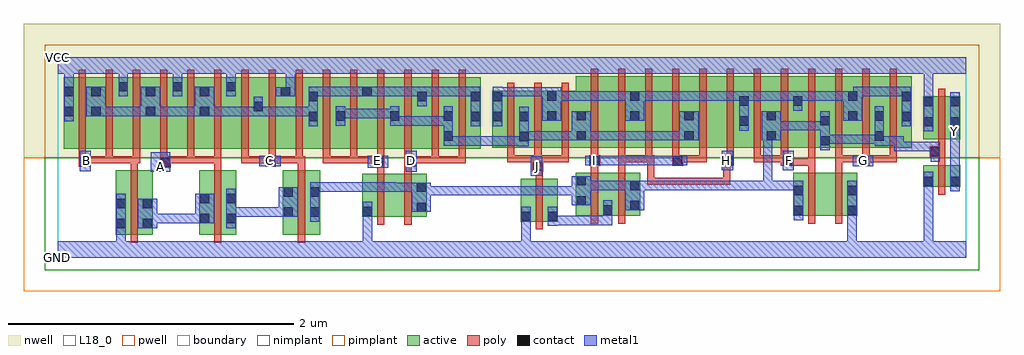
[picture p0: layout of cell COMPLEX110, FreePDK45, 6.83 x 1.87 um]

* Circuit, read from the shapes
.subckt COMPLEX110 A B C D E F G GND H I J VCC Y
M1 n1 B GND VSUBS nfet w=0.45u l=0.05u
M2 n2 A n1 VSUBS nfet w=0.45u l=0.05u
M3 n3 C n2 VSUBS nfet w=0.45u l=0.05u
M4 n4 E GND VSUBS nfet w=0.3u l=0.05u
M5 n3 D n4 VSUBS nfet w=0.3u l=0.05u
M6 n5 J GND VSUBS nfet w=0.3u l=0.05u
M7 n5 I n3 VSUBS nfet w=0.3u l=0.05u
M8 n3 H n5 VSUBS nfet w=0.3u l=0.05u
M9 n6 F n3 VSUBS nfet w=0.3u l=0.05u
M10 GND G n6 VSUBS nfet w=0.3u l=0.05u
M11 Y n3 GND VSUBS nfet w=0.15u l=0.05u
M12 n7 B VCC n8 pfet w=0.5u l=0.05u m=3
M13 VCC A n7 n8 pfet w=0.5u l=0.05u m=3
M14 n7 C VCC n8 pfet w=0.5u l=0.05u m=3
M15 n9 E n7 n8 pfet w=0.5u l=0.05u m=3
M16 n7 D n9 n8 pfet w=0.5u l=0.05u m=3
M17 n9 J n10 n8 pfet w=0.4u l=0.05u m=3
M18 n11 I n9 n8 pfet w=0.5u l=0.05u
M19 n10 H n11 n8 pfet w=0.5u l=0.05u
M20 n12 H n10 n8 pfet w=0.5u l=0.05u
M21 n9 I n12 n8 pfet w=0.5u l=0.05u
M22 n13 I n9 n8 pfet w=0.5u l=0.05u
M23 n10 H n13 n8 pfet w=0.5u l=0.05u
M24 n3 F n10 n8 pfet w=0.5u l=0.05u m=3
M25 n10 G n3 n8 pfet w=0.5u l=0.05u m=3
M26 Y n3 VCC n8 pfet w=0.3u l=0.05u
.ends

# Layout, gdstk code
import gdstk
lib = gdstk.Library(unit=1e-6, precision=1e-09)
def R(c, l, rs):  # rectangles x0, y0, x1, y1
    for r in rs: c.add(gdstk.rectangle(r[:2], r[2:], *l))
def A(c, l, x, y, w, h, nx, ny, dx, dy):  # array of equal rectangles
    R(c, l, [(x+i*dx, y+j*dy, x+i*dx+w, y+j*dy+h) for i in range(nx) for j in range(ny)])
active = (1, 0)
pwell = (2, 0)
nwell = (3, 0)
nimplant = (4, 0)
pimplant = (5, 0)
poly = (9, 0)
contact = (10, 0)
metal1 = (11, 0)
L18_0 = (18, 0)
boundary = (235, 0)

complex110 = lib.new_cell('COMPLEX110')
A(complex110, active, 0.407, 0.16, 0.26, 0.45, 3, 1, 0.585, 0)
A(complex110, active, 0.042, 0.76, 0.265, 0.5, 4, 1, 0.19, 0)
A(complex110, active, 0.042, 0.76, 0.075, 0.5, 3, 1, 0.38, 0)
R(complex110, active, [(0.407,0.195,0.482,0.61), (0.592,0.195,0.667,0.61), (0.992,0.195,1.067,0.61), (1.177,0.195,1.252,0.61), (1.577,0.195,1.652,0.61), (1.762,0.195,1.837,0.61), (3.24,0.252,3.315,0.552), (3.24,0.252,3.5,0.552), (3.425,0.252,3.5,0.552), (2.132,0.285,2.207,0.585), (2.132,0.285,2.357,0.585), (2.357,0.285,2.582,0.585), (3.627,0.292,3.887,0.592), (3.812,0.292,4.077,0.592), (3.812,0.292,3.887,0.497), (4.002,0.292,4.077,0.592), (5.147,0.292,5.222,0.592), (5.147,0.292,5.372,0.592), (5.372,0.292,5.597,0.592), (5.522,0.292,5.597,0.592), (2.507,0.315,2.582,0.585), (3.627,0.33,3.702,0.592), (6.057,0.495,6.132,0.645), (6.057,0.495,6.317,0.645), (6.242,0.495,6.317,0.645), (0.232,0.76,0.307,1.2), (0.612,0.76,0.687,1.2), (0.802,0.76,1.065,1.26), (0.99,0.76,1.065,1.2), (0.99,0.76,1.252,1.26), (1.177,0.76,1.442,1.26), (1.177,0.76,1.252,1.26), (1.367,0.76,1.632,1.26), (1.367,0.76,1.442,1.2), (1.557,0.76,1.827,1.26), (1.557,0.76,1.632,1.26), (1.752,0.76,2.017,1.26), (1.752,0.76,1.827,1.2), (1.942,0.76,2.202,1.26), (1.942,0.76,2.017,1.07), (2.127,0.76,2.397,1.26), (2.127,0.76,2.202,1.2), (2.322,0.76,2.587,1.26), (2.322,0.76,2.397,1.07), (2.512,0.76,2.772,1.26), (2.512,0.76,2.587,1.2), (2.697,0.76,2.962,1.26), (2.697,0.76,2.772,1.07), (2.887,0.76,2.962,1.2), (3.042,0.767,3.302,1.167), (3.042,0.767,3.117,1.165), (3.227,0.767,3.302,1.07), (3.227,0.767,3.495,1.167), (3.42,0.767,3.702,1.167), (3.42,0.767,3.495,1.167), (3.627,0.767,3.702,1.07), (3.627,0.767,3.852,1.267), (3.852,0.767,4.077,1.267), (4.002,0.767,4.077,1.2), (4.002,0.767,4.232,1.267), (4.232,0.767,4.457,1.267), (4.382,0.767,4.457,1.07), (4.382,0.767,4.612,1.267), (4.612,0.767,4.842,1.267), (4.767,0.767,4.842,1.2), (4.767,0.767,5.032,1.267), (4.957,0.767,5.032,1.07), (4.957,0.767,5.217,1.267), (5.142,0.767,5.217,1.2), (5.142,0.767,5.407,1.267), (5.332,0.767,5.407,1.07), (5.332,0.767,5.602,1.267), (5.527,0.767,5.602,1.2), (5.527,0.767,5.787,1.267), (5.712,0.767,5.977,1.267), (5.712,0.767,5.787,1.07), (5.902,0.767,5.977,1.2), (6.057,0.827,6.132,1.127), (6.057,0.827,6.317,1.127), (6.242,0.827,6.317,1.127)])
R(complex110, pwell, [(-0.235,-0.235,6.595,0.7)])
R(complex110, nwell, [(-0.235,0.7,6.595,1.635)])
R(complex110, nimplant, [(-0.09,-0.09,6.45,0.7)])
R(complex110, pimplant, [(-0.09,0.7,6.45,1.49)])
A(complex110, poly, 0.512, 0.105, 0.05, 0.56, 3, 1, 0.585, 0)
A(complex110, poly, 0.512, 0.615, 0.05, 0.095, 3, 1, 0.585, 0)
A(complex110, poly, 0.147, 0.66, 0.05, 0.095, 15, 1, 0.19, 0)
A(complex110, poly, 3.147, 0.667, 0.05, 0.095, 3, 1, 0.19, 0)
A(complex110, poly, 3.732, 0.667, 0.05, 0.095, 8, 1, 0.19, 0)
A(complex110, poly, 5.442, 0.667, 0.05, 0.095, 3, 1, 0.19, 0)
A(complex110, poly, 0.147, 0.705, 0.05, 0.61, 15, 1, 0.19, 0)
A(complex110, poly, 3.147, 0.712, 0.05, 0.51, 3, 1, 0.19, 0)
A(complex110, poly, 3.732, 0.712, 0.05, 0.61, 12, 1, 0.19, 0)
R(complex110, poly, [(3.345,0.197,3.395,0.607), (2.237,0.23,2.287,0.64), (2.427,0.23,2.477,0.64), (3.732,0.237,3.782,0.647), (3.922,0.237,3.972,0.647), (5.252,0.237,5.302,0.647), (5.442,0.237,5.492,0.647), (6.162,0.44,6.212,0.7), (4.127,0.51,4.177,0.56), (4.127,0.51,4.177,0.56), (4.127,0.51,4.177,0.56), (4.127,0.51,4.41,0.56), (4.127,0.51,4.177,0.717), (4.36,0.51,4.41,0.56), (4.36,0.51,4.41,0.56), (4.36,0.51,4.41,0.56), (4.36,0.51,4.575,0.56), (4.525,0.51,4.575,0.56), (4.525,0.51,4.707,0.56), (4.657,0.51,4.707,0.56), (4.657,0.51,4.707,0.56), (4.657,0.51,4.707,0.56), (4.657,0.51,4.707,0.692), (3.345,0.557,3.395,0.652), (2.237,0.59,2.287,0.685), (2.427,0.59,2.477,0.685), (3.732,0.597,3.782,0.692), (3.922,0.597,3.972,0.717), (5.252,0.597,5.302,0.692), (5.442,0.597,5.492,0.717), (3.322,0.602,3.397,0.717), (0.717,0.63,0.792,0.71), (0.147,0.635,0.225,0.71), (1.452,0.635,1.527,0.71), (2.21,0.635,2.287,0.71), (2.427,0.635,2.505,0.71), (3.722,0.642,3.797,0.717), (4.302,0.642,4.377,0.717), (4.657,0.642,4.707,0.692), (4.657,0.642,4.707,0.692), (4.657,0.642,4.732,0.717), (5.062,0.642,5.145,0.717), (5.095,0.642,5.302,0.692), (5.252,0.642,5.302,0.692), (5.252,0.642,5.302,0.692), (5.252,0.642,5.302,0.692), (5.252,0.642,5.302,0.762), (5.602,0.642,5.682,0.717), (6.162,0.65,6.212,0.752), (0.175,0.66,0.387,0.71), (0.337,0.66,0.387,0.71), (0.337,0.66,0.387,0.71), (0.337,0.66,0.387,0.71), (0.337,0.66,0.562,0.71), (0.512,0.66,0.562,0.71), (0.512,0.66,0.562,0.71), (0.512,0.66,0.577,0.71), (0.742,0.66,0.957,0.71), (0.907,0.66,0.957,0.71), (0.907,0.66,0.957,0.71), (0.907,0.66,0.957,0.71), (0.907,0.66,1.147,0.71), (1.097,0.66,1.147,0.71), (1.097,0.66,1.147,0.71), (1.097,0.66,1.147,0.71), (1.287,0.66,1.337,0.71), (1.287,0.66,1.337,0.71), (1.287,0.66,1.337,0.71), (1.287,0.66,1.502,0.71), (1.477,0.66,1.717,0.71), (1.667,0.66,1.717,0.71), (1.667,0.66,1.717,0.71), (1.667,0.66,1.732,0.71), (1.857,0.66,1.907,0.71), (1.857,0.66,1.907,0.71), (1.857,0.66,1.907,0.71), (1.857,0.66,2.097,0.71), (2.047,0.66,2.097,0.71), (2.047,0.66,2.097,0.71), (2.047,0.66,2.097,0.71), (2.047,0.66,2.26,0.71), (2.455,0.66,2.505,0.71), (2.455,0.66,2.505,0.71), (2.455,0.66,2.667,0.71), (2.617,0.66,2.667,0.71), (2.617,0.66,2.667,0.71), (2.617,0.66,2.667,0.71), (2.617,0.66,2.857,0.71), (2.807,0.66,2.857,0.71), (3.147,0.667,3.197,0.717), (3.147,0.667,3.372,0.717), (3.322,0.667,3.372,0.717), (3.322,0.667,3.372,0.717), (3.347,0.667,3.577,0.717), (3.527,0.667,3.577,0.717), (3.527,0.667,3.577,0.717), (3.527,0.667,3.577,0.717), (3.922,0.667,3.972,0.717), (3.922,0.667,3.972,0.717), (3.922,0.667,3.972,0.717), (3.922,0.667,4.162,0.717), (4.112,0.667,4.162,0.717), (4.112,0.667,4.162,0.717), (4.112,0.667,4.177,0.717), (4.327,0.667,4.542,0.717), (4.492,0.667,4.542,0.717), (4.492,0.667,4.542,0.717), (4.492,0.667,4.542,0.717), (4.872,0.667,4.922,0.717), (4.872,0.667,5.112,0.717), (5.062,0.667,5.112,0.717), (5.062,0.667,5.112,0.717), (5.442,0.667,5.492,0.717), (5.442,0.667,5.652,0.717), (5.602,0.667,5.652,0.717), (5.602,0.667,5.652,0.717), (5.632,0.667,5.872,0.717), (5.822,0.667,5.872,0.717), (5.822,0.667,5.872,0.717), (5.822,0.667,5.872,0.717), (6.105,0.702,6.212,0.777), (6.162,0.727,6.212,0.822), (6.162,0.772,6.212,1.182)])
R(complex110, contact, [(0.412,0.205,0.477,0.27), (0.597,0.205,0.662,0.27), (0.997,0.24,1.062,0.305), (1.182,0.24,1.247,0.305), (3.245,0.257,3.31,0.322), (3.43,0.257,3.495,0.322), (1.582,0.287,1.647,0.352), (1.767,0.287,1.832,0.352), (2.137,0.29,2.202,0.355), (5.152,0.297,5.217,0.362), (5.527,0.297,5.592,0.362), (3.817,0.3,3.882,0.365), (2.512,0.32,2.577,0.385), (4.007,0.332,4.072,0.397), (0.412,0.345,0.477,0.41), (0.597,0.345,0.662,0.41), (3.632,0.365,3.697,0.43), (0.997,0.38,1.062,0.445), (1.182,0.38,1.247,0.445), (1.582,0.427,1.647,0.492), (1.767,0.427,1.832,0.492), (5.152,0.437,5.217,0.502), (5.527,0.437,5.592,0.502), (2.512,0.46,2.577,0.525), (4.007,0.472,4.072,0.537), (6.062,0.5,6.127,0.565), (6.247,0.5,6.312,0.565), (3.632,0.505,3.697,0.57), (3.327,0.607,3.392,0.672), (0.722,0.635,0.787,0.7), (0.155,0.64,0.22,0.705), (1.457,0.64,1.522,0.705), (2.215,0.64,2.28,0.705), (2.435,0.64,2.5,0.705), (3.727,0.647,3.792,0.712), (4.307,0.647,4.372,0.712), (4.662,0.647,4.727,0.712), (5.075,0.647,5.14,0.712), (5.607,0.647,5.672,0.712), (6.11,0.707,6.175,0.772), (5.337,0.785,5.402,0.85), (3.232,0.815,3.297,0.88), (2.702,0.817,2.767,0.882), (5.717,0.817,5.782,0.882), (3.632,0.82,3.697,0.885), (4.387,0.82,4.452,0.885), (4.962,0.82,5.027,0.885), (6.062,0.917,6.127,0.982), (6.247,0.917,6.312,0.982), (4.772,0.922,4.837,0.987), (5.337,0.925,5.402,0.99), (1.757,0.955,1.822,1.02), (2.892,0.955,2.957,1.02), (3.047,0.955,3.112,1.02), (3.232,0.955,3.297,1.02), (5.907,0.955,5.972,1.02), (1.947,0.957,2.012,1.022), (2.327,0.957,2.392,1.022), (2.702,0.957,2.767,1.022), (3.425,0.957,3.49,1.022), (4.007,0.957,4.072,1.022), (5.532,0.957,5.597,1.022), (5.717,0.957,5.782,1.022), (3.632,0.96,3.697,1.025), (4.387,0.96,4.452,1.025), (4.962,0.96,5.027,1.025), (0.047,0.99,0.112,1.055), (0.237,0.99,0.302,1.055), (0.617,0.99,0.682,1.055), (0.995,0.99,1.06,1.055), (1.372,1.025,1.437,1.09), (6.062,1.057,6.127,1.122), (6.247,1.057,6.312,1.122), (4.772,1.062,4.837,1.127), (5.147,1.062,5.212,1.127), (1.757,1.095,1.822,1.16), (2.517,1.095,2.582,1.16), (2.892,1.095,2.957,1.16), (3.047,1.095,3.112,1.16), (5.907,1.095,5.972,1.16), (3.425,1.097,3.49,1.162), (4.007,1.097,4.072,1.162), (5.532,1.097,5.597,1.162), (1.562,1.127,1.627,1.192), (0.047,1.13,0.112,1.195), (0.237,1.13,0.302,1.195), (0.617,1.13,0.682,1.195), (0.995,1.13,1.06,1.195), (2.132,1.13,2.197,1.195), (0.427,1.162,0.492,1.227), (0.807,1.162,0.872,1.227), (1.182,1.162,1.247,1.227)])
R(complex110, metal1, [(0,0,6.36,0.115), (0.412,0.05,0.477,0.115), (0.412,0.05,0.477,0.115), (0.412,0.05,0.477,0.235), (2.137,0.05,2.202,0.32), (3.245,0.05,3.31,0.115), (3.245,0.05,3.31,0.115), (3.245,0.05,3.31,0.115), (3.245,0.05,3.31,0.115), (3.245,0.05,3.31,0.287), (5.527,0.05,5.592,0.115), (5.527,0.05,5.592,0.115), (5.527,0.05,5.592,0.115), (5.527,0.05,5.592,0.115), (5.527,0.05,5.592,0.327), (6.062,0.05,6.127,0.115), (6.062,0.05,6.127,0.115), (6.062,0.05,6.127,0.115), (6.062,0.05,6.127,0.115), (6.062,0.05,6.127,0.53), (0.412,0.17,0.477,0.445), (0.562,0.205,0.697,0.41), (1.182,0.205,1.247,0.48), (3.245,0.222,3.31,0.357), (3.43,0.222,3.495,0.357), (3.43,0.227,3.495,0.292), (3.43,0.227,3.495,0.292), (3.43,0.227,3.662,0.292), (3.597,0.227,3.662,0.292), (3.597,0.227,3.882,0.292), (3.817,0.227,3.882,0.33), (0.632,0.24,0.697,0.305), (0.632,0.24,0.697,0.305), (0.632,0.24,0.855,0.305), (0.79,0.24,0.855,0.305), (0.79,0.24,0.855,0.305), (0.79,0.24,0.855,0.305), (0.79,0.24,1.027,0.305), (0.962,0.24,1.097,0.445), (1.767,0.252,1.832,0.527), (2.137,0.255,2.202,0.32), (2.137,0.255,2.202,0.32), (2.137,0.255,2.202,0.32), (2.137,0.255,2.202,0.32), (2.137,0.255,2.202,0.39), (5.152,0.262,5.217,0.537), (5.527,0.262,5.592,0.537), (3.817,0.265,3.882,0.33), (3.817,0.265,3.882,0.4), (1.182,0.287,1.3,0.352), (1.235,0.287,1.3,0.352), (1.235,0.287,1.437,0.352), (1.372,0.287,1.437,0.352), (1.372,0.287,1.437,0.352), (1.372,0.287,1.437,0.352), (1.372,0.287,1.612,0.352), (1.547,0.287,1.682,0.492), (2.477,0.32,2.612,0.525), (3.972,0.332,4.107,0.537), (3.597,0.365,3.732,0.57), (2.547,0.435,2.612,0.5), (2.547,0.435,2.612,0.5), (2.547,0.435,2.82,0.5), (2.755,0.435,2.82,0.5), (2.755,0.435,2.82,0.5), (2.755,0.435,2.82,0.5), (2.755,0.435,2.957,0.5), (2.892,0.435,2.957,0.5), (2.892,0.435,3.16,0.5), (3.095,0.435,3.16,0.5), (3.095,0.435,3.16,0.5), (3.095,0.435,3.16,0.5), (3.095,0.435,3.317,0.5), (3.252,0.435,3.317,0.5), (3.252,0.435,3.317,0.5), (3.252,0.435,3.317,0.5), (3.252,0.435,3.492,0.5), (3.427,0.435,3.492,0.5), (3.427,0.435,3.492,0.5), (3.427,0.435,3.492,0.5), (3.427,0.435,3.662,0.5), (2.305,0.46,2.37,0.525), (2.305,0.46,2.37,0.525), (2.305,0.46,2.542,0.525), (2.305,0.46,2.37,0.527), (1.767,0.462,1.832,0.527), (1.767,0.462,1.832,0.527), (1.767,0.462,1.97,0.527), (1.905,0.462,1.97,0.527), (1.905,0.462,1.97,0.527), (1.905,0.462,1.97,0.527), (1.905,0.462,2.232,0.527), (2.167,0.462,2.232,0.527), (2.167,0.462,2.232,0.527), (2.167,0.462,2.232,0.527), (2.167,0.462,2.37,0.527), (6.062,0.465,6.127,0.53), (6.062,0.465,6.127,0.53), (6.062,0.465,6.127,0.6), (6.247,0.465,6.312,0.6), (3.667,0.472,3.732,0.537), (3.667,0.472,3.732,0.537), (3.667,0.472,3.87,0.537), (3.805,0.472,3.87,0.537), (3.805,0.472,4.037,0.537), (3.972,0.472,4.037,0.537), (3.972,0.472,4.037,0.537), (4.042,0.472,4.175,0.537), (4.11,0.472,4.175,0.537), (4.11,0.472,4.245,0.537), (4.18,0.472,4.245,0.537), (4.18,0.472,4.337,0.537), (4.272,0.472,4.337,0.537), (4.272,0.472,4.382,0.537), (4.317,0.472,4.382,0.537), (4.317,0.472,4.555,0.537), (4.49,0.472,4.555,0.537), (4.49,0.472,4.555,0.537), (4.49,0.472,4.555,0.537), (4.49,0.472,4.7,0.537), (4.635,0.472,4.7,0.537), (4.635,0.472,4.855,0.537), (4.79,0.472,4.855,0.537), (4.79,0.472,4.855,0.537), (4.79,0.472,4.855,0.537), (4.79,0.472,5.002,0.537), (4.937,0.472,5.002,0.537), (4.937,0.472,5.002,0.537), (4.937,0.472,5.002,0.537), (4.937,0.472,5.002,0.537), (4.937,0.472,5.002,0.537), (4.937,0.472,5.002,0.537), (4.937,0.472,5.002,0.537), (4.937,0.472,5.217,0.537), (4.937,0.472,5.002,0.885), (6.247,0.535,6.312,0.877), (3.312,0.572,3.392,0.707), (0.652,0.6,0.79,0.735), (2.435,0.6,2.512,0.747), (0.155,0.605,0.232,0.747), (5.075,0.61,5.152,0.747), (4.647,0.612,4.727,0.747), (2.172,0.63,2.315,0.712), (1.412,0.64,1.56,0.712), (5.565,0.64,5.707,0.712), (3.692,0.647,3.827,0.712), (3.762,0.647,3.87,0.712), (3.805,0.647,3.87,0.712), (3.805,0.647,4.037,0.712), (3.972,0.647,4.037,0.712), (3.972,0.647,4.037,0.712), (3.972,0.647,4.037,0.712), (3.972,0.647,4.175,0.712), (4.11,0.647,4.175,0.712), (4.11,0.647,4.245,0.712), (4.18,0.647,4.245,0.712), (4.18,0.647,4.337,0.712), (4.272,0.647,4.407,0.712), (6.11,0.672,6.175,0.807), (6.11,0.742,6.175,0.807), (6.11,0.742,6.175,0.81), (5.855,0.745,6.175,0.81), (5.855,0.745,5.92,0.847), (6.11,0.745,6.175,0.81), (6.11,0.745,6.175,0.81), (5.337,0.75,5.402,1.025), (3.232,0.78,3.297,1.055), (2.702,0.782,2.767,0.847), (2.702,0.782,2.767,0.847), (2.702,0.782,2.767,1.057), (2.702,0.782,2.975,0.847), (2.91,0.782,2.975,0.847), (2.91,0.782,2.975,0.847), (2.91,0.782,2.975,0.847), (2.91,0.782,3.16,0.847), (3.095,0.782,3.16,0.847), (3.095,0.782,3.297,0.847), (5.717,0.782,5.782,0.847), (5.717,0.782,5.782,0.847), (5.717,0.782,5.782,1.057), (5.717,0.782,5.92,0.847), (5.337,0.795,5.402,0.86), (5.337,0.795,5.402,0.86), (5.337,0.795,5.645,0.86), (5.58,0.795,5.645,0.86), (5.58,0.795,5.645,0.86), (5.58,0.795,5.645,0.86), (5.58,0.795,5.782,0.86), (6.247,0.812,6.312,0.947), (3.232,0.82,3.297,0.885), (3.232,0.82,3.297,0.885), (3.232,0.82,3.525,0.885), (3.46,0.82,3.525,0.885), (3.46,0.82,3.525,0.885), (3.46,0.82,3.525,0.885), (3.46,0.82,3.662,0.885), (3.597,0.82,3.732,1.025), (3.667,0.82,3.732,0.885), (3.667,0.82,3.732,0.885), (3.667,0.82,3.87,0.885), (3.805,0.82,3.87,0.885), (3.805,0.82,4.037,0.885), (3.972,0.82,4.037,0.885), (3.972,0.82,4.037,0.885), (3.972,0.82,4.037,0.885), (3.972,0.82,4.175,0.885), (4.11,0.82,4.175,0.885), (4.11,0.82,4.245,0.885), (4.18,0.82,4.245,0.885), (4.18,0.82,4.417,0.885), (4.352,0.82,4.417,0.885), (4.352,0.82,4.417,0.885), (4.352,0.82,4.487,1.025), (4.927,0.82,5.062,1.025), (6.062,0.882,6.127,1.157), (6.247,0.882,6.312,0.947), (6.247,0.882,6.312,1.157), (4.772,0.887,4.837,1.162), (4.997,0.89,5.062,0.955), (4.997,0.89,5.062,0.955), (4.997,0.89,5.2,0.955), (5.135,0.89,5.2,0.955), (5.135,0.89,5.2,0.955), (5.135,0.89,5.2,0.955), (5.135,0.89,5.402,0.955), (1.757,0.92,1.822,1.195), (2.892,0.92,2.957,1.195), (3.047,0.92,3.112,1.195), (5.907,0.92,5.972,1.195), (1.947,0.922,2.012,1.057), (2.327,0.922,2.392,0.987), (2.327,0.922,2.392,0.987), (2.327,0.922,2.392,1.057), (2.327,0.922,2.53,0.987), (2.465,0.922,2.53,0.987), (2.465,0.922,2.53,0.987), (2.465,0.922,2.53,0.987), (2.465,0.922,2.767,0.987), (0.047,0.955,0.112,1.23), (3.39,0.957,3.525,1.192), (3.972,0.957,4.107,1.162), (5.497,0.957,5.632,1.162), (1.947,0.975,2.012,1.04), (1.947,0.975,2.012,1.04), (1.947,0.975,2.15,1.04), (2.085,0.975,2.15,1.04), (2.085,0.975,2.15,1.04), (2.085,0.975,2.15,1.04), (2.085,0.975,2.392,1.04), (0.202,0.99,0.337,1.195), (0.272,0.99,0.337,1.055), (0.272,0.99,0.337,1.055), (0.272,0.99,0.49,1.055), (0.425,0.99,0.49,1.055), (0.425,0.99,0.49,1.055), (0.425,0.99,0.49,1.055), (0.425,0.99,0.647,1.055), (0.582,0.99,0.717,1.195), (0.652,0.99,0.717,1.055), (0.652,0.99,0.717,1.055), (0.652,0.99,0.887,1.055), (0.822,0.99,0.887,1.055), (0.822,0.99,1.025,1.055), (0.96,0.99,1.025,1.055), (0.96,0.99,1.025,1.055), (0.96,0.99,1.095,1.195), (1.03,0.99,1.162,1.055), (1.097,0.99,1.162,1.055), (1.097,0.99,1.3,1.055), (1.235,0.99,1.3,1.055), (1.235,0.99,1.3,1.055), (1.235,0.99,1.3,1.055), (1.235,0.99,1.437,1.055), (1.372,0.99,1.437,1.055), (1.372,0.99,1.437,1.055), (1.372,0.99,1.437,1.125), (1.372,0.99,1.685,1.055), (1.62,0.99,1.685,1.055), (1.62,0.99,1.685,1.055), (1.62,0.99,1.685,1.055), (1.62,0.99,1.822,1.055), (5.147,1.027,5.212,1.162), (2.517,1.06,2.582,1.195), (6.062,1.092,6.127,1.157), (6.062,1.092,6.127,1.157), (6.062,1.092,6.127,1.35), (3.46,1.097,3.525,1.162), (3.46,1.097,3.525,1.162), (3.46,1.097,3.662,1.162), (3.597,1.097,3.662,1.162), (3.597,1.097,3.9,1.162), (3.835,1.097,3.9,1.162), (3.835,1.097,3.9,1.162), (3.835,1.097,3.9,1.162), (3.835,1.097,4.037,1.162), (3.972,1.097,4.037,1.162), (3.972,1.097,4.037,1.162), (4.042,1.097,4.2,1.162), (4.135,1.097,4.2,1.162), (4.135,1.097,4.245,1.162), (4.18,1.097,4.245,1.162), (4.18,1.097,4.382,1.162), (4.317,1.097,4.382,1.162), (4.317,1.097,4.382,1.162), (4.317,1.097,4.382,1.162), (4.317,1.097,4.562,1.162), (4.497,1.097,4.562,1.162), (4.497,1.097,4.562,1.162), (4.497,1.097,4.562,1.162), (4.497,1.097,4.7,1.162), (4.635,1.097,4.7,1.162), (4.635,1.097,4.837,1.162), (4.772,1.097,4.837,1.162), (4.772,1.097,4.837,1.162), (4.772,1.097,4.992,1.162), (4.927,1.097,4.992,1.162), (4.927,1.097,4.992,1.162), (4.927,1.097,4.992,1.162), (4.927,1.097,5.212,1.162), (5.147,1.097,5.212,1.162), (5.147,1.097,5.212,1.162), (5.147,1.097,5.425,1.162), (5.36,1.097,5.425,1.162), (5.36,1.097,5.425,1.162), (5.36,1.097,5.425,1.162), (5.36,1.097,5.562,1.162), (5.567,1.097,5.632,1.162), (5.567,1.097,5.632,1.195), (0.427,1.127,0.492,1.262), (0.807,1.127,0.872,1.262), (1.182,1.127,1.247,1.262), (1.527,1.127,1.662,1.192), (1.597,1.127,1.662,1.35), (3.047,1.127,3.112,1.192), (3.047,1.127,3.112,1.192), (3.047,1.127,3.317,1.192), (3.252,1.127,3.317,1.192), (3.252,1.127,3.317,1.192), (3.252,1.127,3.317,1.192), (3.252,1.127,3.455,1.192), (1.757,1.13,1.822,1.195), (1.757,1.13,1.822,1.195), (1.757,1.13,1.822,1.195), (1.757,1.13,1.822,1.195), (1.757,1.13,1.97,1.195), (1.905,1.13,1.97,1.195), (1.905,1.13,1.97,1.195), (1.905,1.13,1.97,1.195), (1.905,1.13,2.162,1.195), (2.097,1.13,2.232,1.195), (2.167,1.13,2.232,1.195), (2.167,1.13,2.232,1.195), (2.167,1.13,2.37,1.195), (2.305,1.13,2.37,1.195), (2.305,1.13,2.37,1.195), (2.305,1.13,2.37,1.195), (2.305,1.13,2.582,1.195), (2.517,1.13,2.582,1.195), (2.517,1.13,2.582,1.195), (2.517,1.13,2.82,1.195), (2.755,1.13,2.82,1.195), (2.755,1.13,2.82,1.195), (2.755,1.13,2.82,1.195), (2.755,1.13,2.957,1.195), (5.567,1.13,5.782,1.195), (5.717,1.13,5.782,1.195), (5.717,1.13,5.972,1.195), (5.907,1.13,5.972,1.195), (5.907,1.13,5.972,1.195), (0.047,1.165,0.112,1.35), (0.427,1.197,0.492,1.35), (0.807,1.197,0.872,1.35), (1.182,1.197,1.247,1.35), (0,1.285,6.36,1.4)])
R(complex110, L18_0, [(0,0,6.36,0.115), (0.412,0.05,0.477,0.235), (0.412,0.05,0.477,0.115), (0.412,0.05,0.477,0.115), (2.137,0.05,2.202,0.32), (3.245,0.05,3.31,0.115), (3.245,0.05,3.31,0.115), (3.245,0.05,3.31,0.115), (3.245,0.05,3.31,0.115), (3.245,0.05,3.31,0.287), (5.527,0.05,5.592,0.115), (5.527,0.05,5.592,0.115), (5.527,0.05,5.592,0.115), (5.527,0.05,5.592,0.115), (5.527,0.05,5.592,0.327), (6.062,0.05,6.127,0.115), (6.062,0.05,6.127,0.115), (6.062,0.05,6.127,0.115), (6.062,0.05,6.127,0.115), (6.062,0.05,6.127,0.53), (0.412,0.17,0.477,0.445), (3.245,0.222,3.31,0.357), (2.137,0.255,2.202,0.32), (2.137,0.255,2.202,0.32), (2.137,0.255,2.202,0.32), (2.137,0.255,2.202,0.32), (2.137,0.255,2.202,0.39), (5.527,0.262,5.592,0.537), (6.062,0.465,6.127,0.53), (6.062,0.465,6.127,0.53), (6.062,0.465,6.127,0.6), (6.247,0.465,6.312,0.6), (6.247,0.535,6.312,0.877), (3.312,0.572,3.392,0.707), (0.652,0.6,0.79,0.735), (2.435,0.6,2.512,0.747), (0.155,0.605,0.232,0.747), (0.687,0.607,0.752,0.672), (3.327,0.607,3.392,0.672), (5.075,0.61,5.152,0.747), (4.647,0.612,4.727,0.747), (2.172,0.63,2.315,0.712), (1.412,0.64,1.56,0.712), (5.565,0.64,5.707,0.712), (0.167,0.647,0.232,0.712), (1.447,0.647,1.512,0.712), (2.207,0.647,2.272,0.712), (2.447,0.647,2.512,0.712), (3.692,0.647,3.827,0.712), (3.727,0.647,3.792,0.712), (3.762,0.647,3.87,0.712), (3.805,0.647,3.87,0.712), (3.805,0.647,4.037,0.712), (3.972,0.647,4.037,0.712), (3.972,0.647,4.037,0.712), (3.972,0.647,4.037,0.712), (3.972,0.647,4.175,0.712), (4.11,0.647,4.175,0.712), (4.11,0.647,4.245,0.712), (4.18,0.647,4.245,0.712), (4.18,0.647,4.337,0.712), (4.272,0.647,4.407,0.712), (4.647,0.647,4.712,0.712), (5.087,0.647,5.152,0.712), (5.607,0.647,5.672,0.712), (6.247,0.812,6.312,0.947), (6.247,0.847,6.312,0.912), (6.062,0.882,6.127,1.157), (6.247,0.882,6.312,1.157), (6.247,0.882,6.312,0.947), (0.047,0.955,0.112,1.23), (6.062,1.092,6.127,1.157), (6.062,1.092,6.127,1.157), (6.062,1.092,6.127,1.35), (0.427,1.127,0.492,1.262), (0.807,1.127,0.872,1.262), (1.182,1.127,1.247,1.262), (1.527,1.127,1.662,1.192), (1.597,1.127,1.662,1.35), (0.047,1.165,0.112,1.35), (0.427,1.197,0.492,1.35), (0.807,1.197,0.872,1.35), (1.182,1.197,1.247,1.35), (0,1.285,6.36,1.4)])
R(complex110, boundary, [(0,0,6.36,1.4)])
complex110.add(gdstk.Label('A', (0.72,0.64), layer=11, texttype=0))
complex110.add(gdstk.Label('B', (0.2,0.68), layer=11, texttype=0))
complex110.add(gdstk.Label('C', (1.48,0.68), layer=11, texttype=0))
complex110.add(gdstk.Label('D', (2.48,0.68), layer=11, texttype=0))
complex110.add(gdstk.Label('E', (2.24,0.68), layer=11, texttype=0))
complex110.add(gdstk.Label('F', (5.12,0.68), layer=11, texttype=0))
complex110.add(gdstk.Label('G', (5.64,0.68), layer=11, texttype=0))
complex110.add(gdstk.Label('H', (4.68,0.68), layer=11, texttype=0))
complex110.add(gdstk.Label('I', (3.76,0.68), layer=11, texttype=0))
complex110.add(gdstk.Label('J', (3.36,0.64), layer=11, texttype=0))
complex110.add(gdstk.Label('Y', (6.28,0.88), layer=11, texttype=0))
complex110.add(gdstk.Label('VCC', (0,1.4), layer=11, texttype=0))
complex110.add(gdstk.Label('GND', (0,0), layer=11, texttype=0))

lib.write_gds('COMPLEX110.gds')
